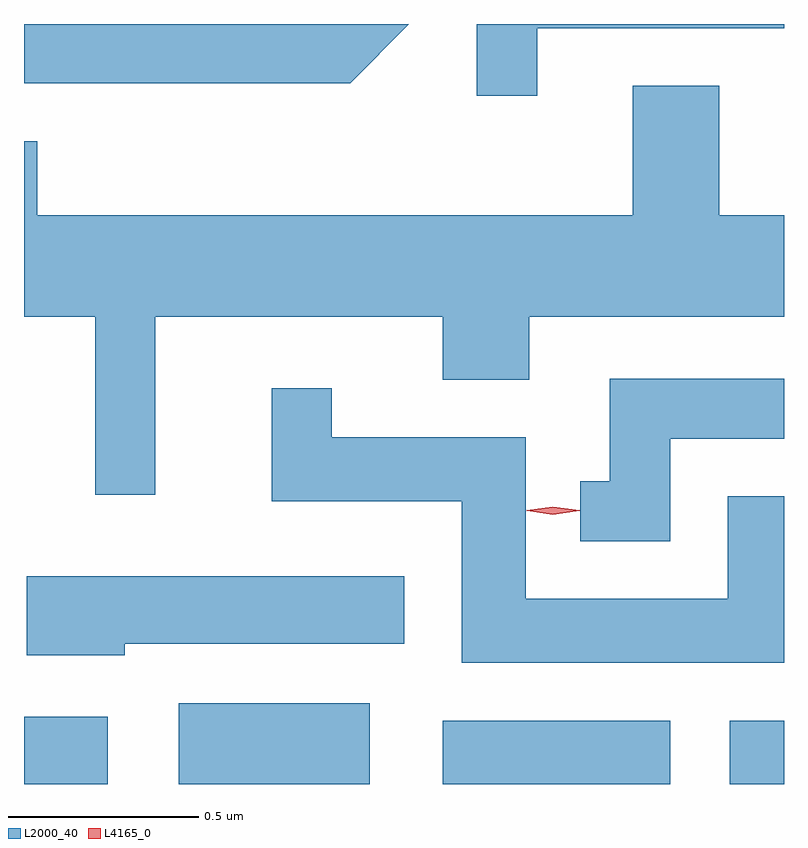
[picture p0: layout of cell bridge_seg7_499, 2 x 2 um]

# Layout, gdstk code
import gdstk
lib = gdstk.Library(unit=1e-6, precision=1e-09)
def R(c, l, rs):  # rectangles x0, y0, x1, y1
    for r in rs: c.add(gdstk.rectangle(r[:2], r[2:], *l))
def P(c, l, *ps):  # polygons
    for p in ps: c.add(gdstk.Polygon(p, *l))
L2000_40 = (2000, 40)
L4165_0 = (4165, 0)

bridge_seg7_499 = lib.new_cell('bridge_seg7_499')
R(bridge_seg7_499, L2000_40, [(1440.699,1704.207,1440.919,1704.384), (1441.106,1704.207,1441.609,1704.419), (1441.801,1704.207,1442.399,1704.374), (1442.556,1704.207,1442.699,1704.374)])
P(bridge_seg7_499, L2000_40, [(1442.049,1706.196),(1442.699,1706.196),(1442.699,1706.207),(1441.891,1706.207),(1441.891,1706.018),(1442.049,1706.018)],
  [(1441.712,1706.207),(1440.699,1706.207),(1440.699,1706.051),(1441.557,1706.051)],
  [(1441.044,1705.436),(1441.801,1705.436),(1441.801,1705.271),(1442.029,1705.271),(1442.029,1705.436),(1442.699,1705.436),(1442.699,1705.704),(1442.529,1705.704),(1442.529,1706.044),(1442.301,1706.044),(1442.301,1705.704),(1440.734,1705.704),(1440.734,1705.899),(1440.699,1705.899),(1440.699,1705.436),(1440.886,1705.436),(1440.886,1704.968),(1441.044,1704.968)],
  [(1442.399,1705.116),(1442.699,1705.116),(1442.699,1705.274),(1442.241,1705.274),(1442.241,1705.004),(1442.163,1705.004),(1442.163,1704.846),(1442.399,1704.846)],
  [(1442.699,1704.964),(1442.551,1704.964),(1442.551,1704.694),(1442.019,1704.694),(1442.019,1705.119),(1441.509,1705.119),(1441.509,1705.248),(1441.351,1705.248),(1441.351,1704.951),(1441.851,1704.951),(1441.851,1704.526),(1442.699,1704.526)],
  [(1440.964,1704.576),(1441.699,1704.576),(1441.699,1704.754),(1440.706,1704.754),(1440.706,1704.546),(1440.964,1704.546)])
P(bridge_seg7_499, L4165_0, [(1442.091,1704.916),(1442.022,1704.926),(1442.022,1704.926),(1442.022,1704.927),(1442.091,1704.936),(1442.161,1704.927),(1442.161,1704.926),(1442.161,1704.926)])

lib.write_gds('bridge_seg7_499.gds')
